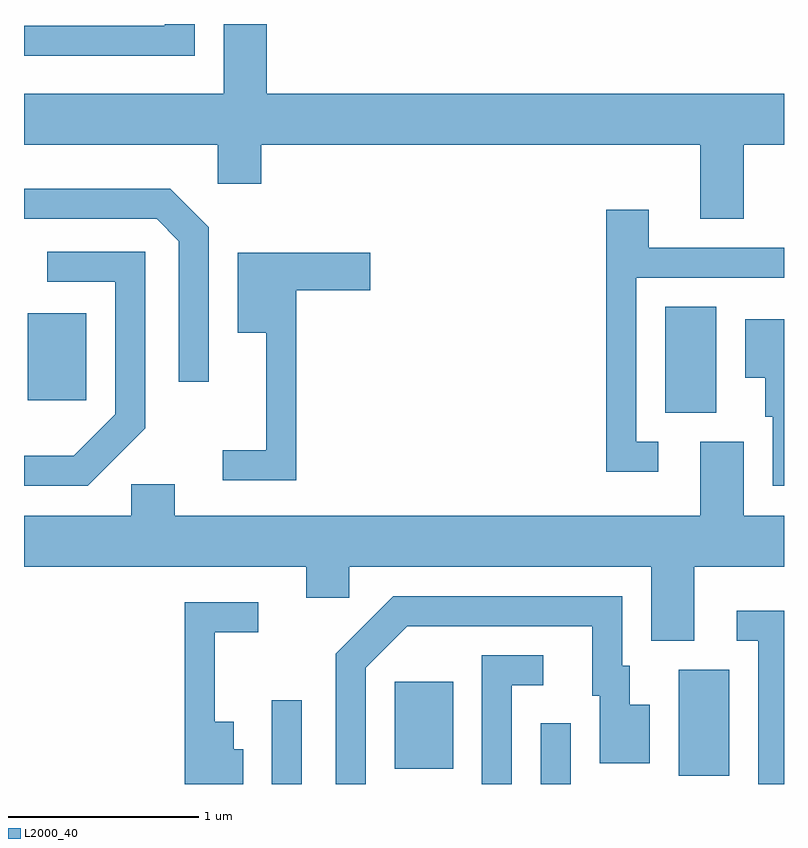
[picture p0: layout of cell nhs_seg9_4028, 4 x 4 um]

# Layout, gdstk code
import gdstk
lib = gdstk.Library(unit=1e-6, precision=1e-09)
def R(c, l, rs):  # rectangles x0, y0, x1, y1
    for r in rs: c.add(gdstk.rectangle(r[:2], r[2:], *l))
def P(c, l, *ps):  # polygons
    for p in ps: c.add(gdstk.Polygon(p, *l))
L2000_40 = (2000, 40)

nhs_seg9_4028 = lib.new_cell('nhs_seg9_4028')
R(nhs_seg9_4028, L2000_40, [(304.916,2008.432,305.074,2008.873), (306.331,2008.432,306.489,2008.753), (307.056,2008.476,307.324,2009.034), (305.561,2008.511,305.869,2008.969), (306.986,2010.386,307.254,2010.944), (303.631,2010.451,303.939,2010.909)])
P(nhs_seg9_4028, L2000_40, [(307.399,2011.796),(307.611,2011.796),(307.611,2012.064),(304.889,2012.064),(304.889,2012.432),(304.661,2012.432),(304.661,2012.064),(303.611,2012.064),(303.611,2011.796),(304.631,2011.796),(304.631,2011.591),(304.859,2011.591),(304.859,2011.796),(307.171,2011.796),(307.171,2011.406),(307.399,2011.406)],
  [(304.509,2012.432),(304.351,2012.432),(304.351,2012.424),(303.611,2012.424),(303.611,2012.266),(304.509,2012.266)],
  [(304.584,2011.362),(304.382,2011.564),(303.611,2011.564),(303.611,2011.406),(304.309,2011.406),(304.426,2011.289),(304.426,2010.548),(304.584,2010.548)],
  [(306.948,2010.234),(306.834,2010.234),(306.834,2011.096),(307.611,2011.096),(307.611,2011.254),(306.899,2011.254),(306.899,2011.454),(306.676,2011.454),(306.676,2010.076),(306.948,2010.076)],
  [(304.249,2010.304),(304.249,2011.234),(303.733,2011.234),(303.733,2011.076),(304.091,2011.076),(304.091,2010.377),(303.874,2010.159),(303.611,2010.159),(303.611,2010.001),(303.947,2010.001)],
  [(305.044,2011.031),(305.434,2011.031),(305.434,2011.229),(304.736,2011.229),(304.736,2010.806),(304.886,2010.806),(304.886,2010.189),(304.658,2010.189),(304.658,2010.031),(305.044,2010.031)],
  [(307.611,2010.879),(307.406,2010.879),(307.406,2010.571),(307.511,2010.571),(307.511,2010.366),(307.551,2010.366),(307.551,2010.001),(307.611,2010.001)],
  [(307.139,2009.576),(307.611,2009.576),(307.611,2009.844),(307.399,2009.844),(307.399,2010.234),(307.171,2010.234),(307.171,2009.844),(304.404,2009.844),(304.404,2010.009),(304.176,2010.009),(304.176,2009.844),(303.611,2009.844),(303.611,2009.576),(305.096,2009.576),(305.096,2009.411),(305.324,2009.411),(305.324,2009.576),(306.911,2009.576),(306.911,2009.186),(307.139,2009.186)],
  [(305.409,2009.044),(305.627,2009.261),(306.601,2009.261),(306.601,2008.896),(306.641,2008.896),(306.641,2008.541),(306.904,2008.541),(306.904,2008.849),(306.799,2008.849),(306.799,2009.054),(306.759,2009.054),(306.759,2009.419),(305.554,2009.419),(305.251,2009.117),(305.251,2008.432),(305.409,2008.432)],
  [(304.764,2008.614),(304.714,2008.614),(304.714,2008.759),(304.614,2008.759),(304.614,2009.231),(304.843,2009.231),(304.843,2009.389),(304.456,2009.389),(304.456,2008.432),(304.764,2008.432)],
  [(307.611,2009.344),(307.363,2009.344),(307.363,2009.186),(307.476,2009.186),(307.476,2008.432),(307.611,2008.432)],
  [(306.179,2008.951),(306.343,2008.951),(306.343,2009.109),(306.021,2009.109),(306.021,2008.432),(306.179,2008.432)])

lib.write_gds('nhs_seg9_4028.gds')
